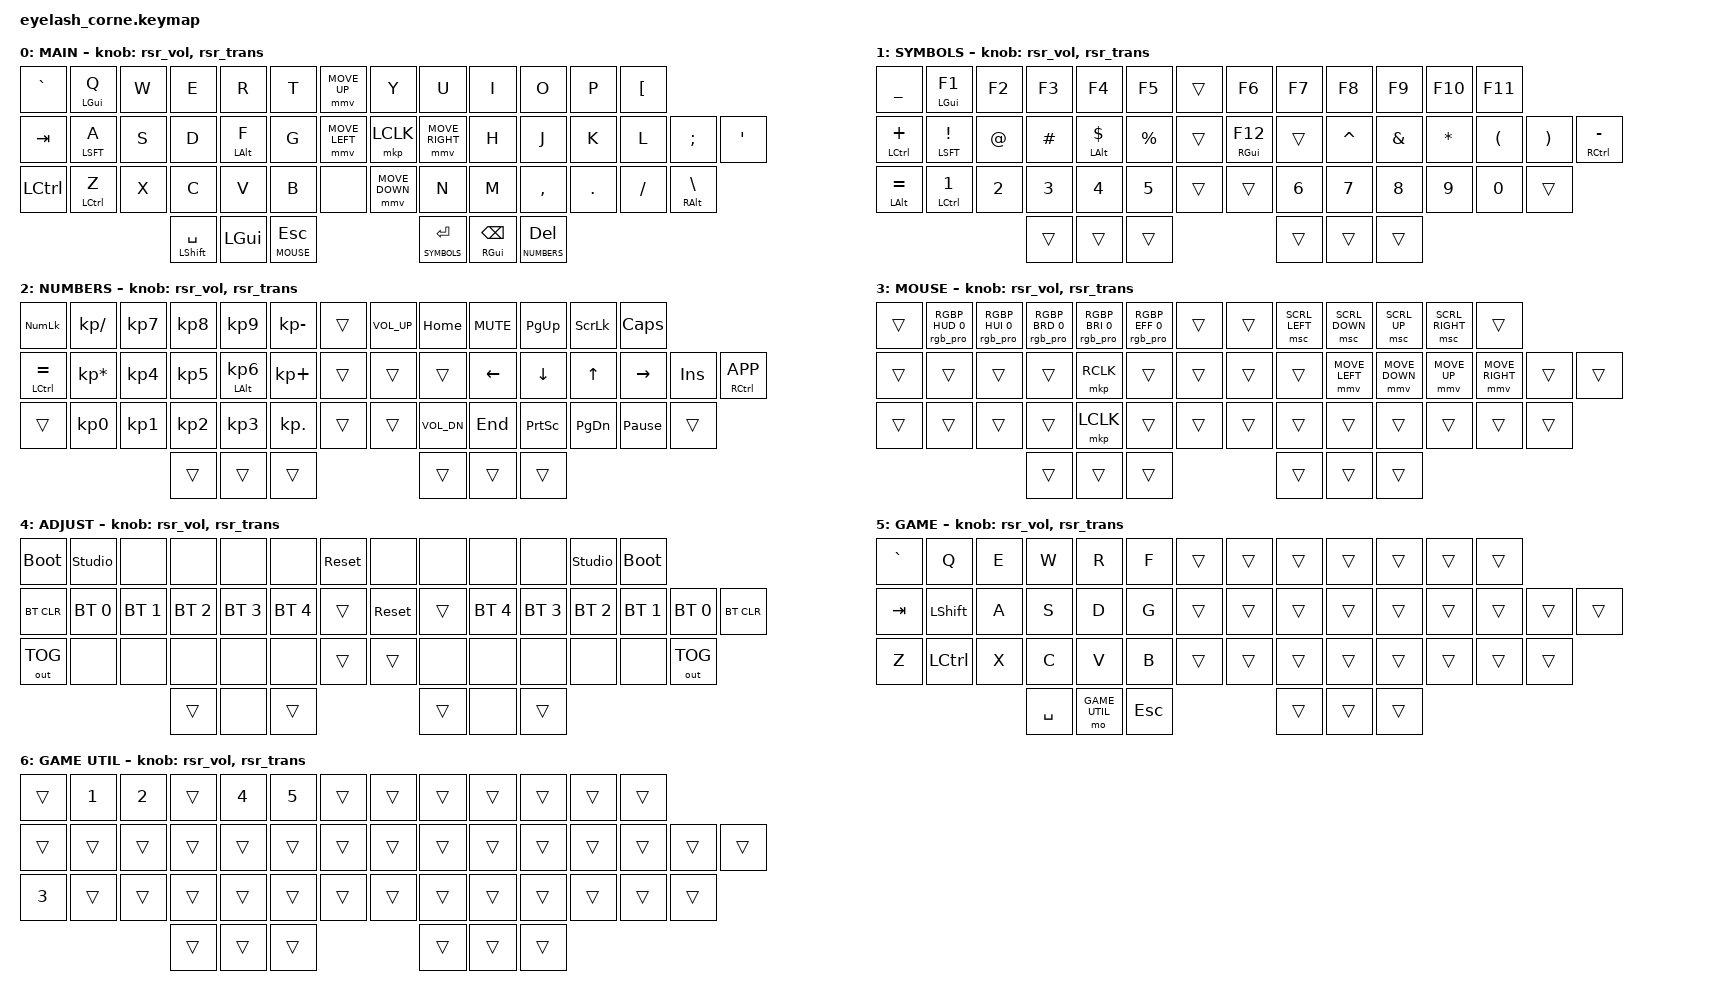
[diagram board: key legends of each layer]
#define ZMK_POINTING_DEFAULT_MOVE_VAL 3000
#define ZMK_POINTING_DEFAULT_SCRL_VAL 25

#include <input/processors.dtsi>
#include <zephyr/dt-bindings/input/input-event-codes.h>
#include <behaviors.dtsi>
#include <behaviors/runtime-sensor-rotate.dtsi>
#include <dt-bindings/zmk/bt.h>
#include <dt-bindings/zmk/keys.h>
#include <dt-bindings/zmk/outputs.h>
#include <dt-bindings/zmk/pointing.h>

#define MAIN 0
#define SYMBOLS 1
#define NUMBERS 2
#define MOUSE 3
#define ADJUST 4
#define GAME 5
#define GAME_UTIL 6

// zmk-pro-rgb commands (param1 of &rgb_pro)
#define RGBP_TOG 0
#define RGBP_EFF 3
#define RGBP_HUI 5
#define RGBP_HUD 6
#define RGBP_BRI 7
#define RGBP_BRD 8

// Combos are disabled on GAME/GAME_UTIL; only the GAME toggle works there
#define COMBO_LAYERS MAIN SYMBOLS NUMBERS MOUSE ADJUST

&lt { quick-tap-ms = <219>; };
&mt { quick-tap-ms = <219>; };

&msc_input_listener { input-processors = <&zip_scroll_scaler 2 1>; };

&msc {
    acceleration-exponent = <1>;
    time-to-max-speed-ms = <100>;
    delay-ms = <0>;
};

// Pointer starts slowly and speeds up quadratically, reaching full speed after
// 1 s. Max speed comes from MOVE_VAL, not a 2x scaler, to keep 1-unit steps.
&mmv {
    time-to-max-speed-ms = <1000>;
    acceleration-exponent = <2>;
    trigger-period-ms = <16>;
};

&soft_off { hold-time-ms = <2000>; };

/ {
    behaviors {
        // Node name must be <= 8 chars to reach the peripheral half
        rgb_pro: rgbpro {
            compatible = "zmk,behavior-rgb-pro";
            #binding-cells = <2>;
        };

        rsr_vol: rsr_vol {
            compatible = "zmk,behavior-runtime-sensor-rotate";
            #sensor-binding-cells = <0>;
            tap-ms = <5>;
            cw-binding = <&kp C_VOL_UP>;
            ccw-binding = <&kp C_VOL_DN>;
        };

        // Alt on F (Russian "а"): only becomes Alt when combined with a
        // right-hand key, never during fast typing rolls like "а " or "ав"
        hm_alt: hm_alt {
            compatible = "zmk,behavior-hold-tap";
            #binding-cells = <2>;
            flavor = "balanced";
            tapping-term-ms = <280>;
            quick-tap-ms = <175>;
            require-prior-idle-ms = <150>;
            hold-trigger-key-positions = <6 7 8 9 10 11 12 19 20 21 22 23 24 25 26 27 35 36 37 38 39 40 41 45 46 47>;
            hold-trigger-on-release;
            bindings = <&kp>, <&kp>;
        };

        rsr_trans: rsr_trans {
            compatible = "zmk,behavior-runtime-sensor-rotate";
            #sensor-binding-cells = <0>;
            tap-ms = <0>;
        };
    };

    combos {
        compatible = "zmk,combos";

        softoff {
            bindings = <&soft_off>;
            key-positions = <1 15 29>;
            layers = <COMBO_LAYERS>;
        };

        combo_esc {
            timeout-ms = <50>;
            key-positions = <1 2>;
            layers = <COMBO_LAYERS>;
            bindings = <&kp ESC>;
        };

        yu_left_paren {
            timeout-ms = <50>;
            key-positions = <7 8>;
            layers = <COMBO_LAYERS>;
            bindings = <&kp LPAR>;
        };

        ui_right_paren {
            timeout-ms = <50>;
            key-positions = <8 9>;
            layers = <COMBO_LAYERS>;
            bindings = <&kp RPAR>;
        };

        hj_left_curly {
            timeout-ms = <50>;
            key-positions = <22 23>;
            layers = <COMBO_LAYERS>;
            bindings = <&kp LBRC>;
        };

        jk_right_curly {
            timeout-ms = <50>;
            key-positions = <23 24>;
            layers = <COMBO_LAYERS>;
            bindings = <&kp RBRC>;
        };

        nm_pipe {
            timeout-ms = <50>;
            key-positions = <36 37>;
            layers = <COMBO_LAYERS>;
            bindings = <&kp PIPE>;
        };

        m_comma_left_bracket {
            timeout-ms = <50>;
            key-positions = <37 38>;
            layers = <COMBO_LAYERS>;
            bindings = <&kp LBKT>;
        };

        rt_underscore {
            timeout-ms = <50>;
            key-positions = <4 5>;
            layers = <COMBO_LAYERS>;
            bindings = <&kp UNDERSCORE>;
        };

        comma_dot_right_bracket {
            timeout-ms = <50>;
            key-positions = <38 39>;
            layers = <COMBO_LAYERS>;
            bindings = <&kp RBKT>;
        };

        rgb_toggle {
            timeout-ms = <100>;
            key-positions = <42 47>;
            layers = <COMBO_LAYERS>;
            bindings = <&rgb_pro RGBP_TOG 0>;
        };

        adjust_toggle {
            timeout-ms = <100>;
            key-positions = <1 11 20>;
            layers = <COMBO_LAYERS>;
            bindings = <&tog ADJUST>;
        };

        yhn_game_toggle {
            timeout-ms = <50>;
            key-positions = <7 22 36>;
            bindings = <&tog GAME>;
        };
    };

    keymap {
        compatible = "zmk,keymap";

        main_layer {
            display-name = "MAIN";
            bindings = <
&kp GRAVE       &mt LGUI Q     &kp W       &kp E               &kp R               &kp T           &mmv MOVE_UP              &kp Y              &kp U            &kp I       &kp O       &kp P        &kp LBKT
&kp TAB         &mt LSFT A     &kp S       &kp D               &hm_alt LALT F        &kp G           &mmv MOVE_LEFT            &mkp LCLK          &mmv MOVE_RIGHT  &kp H       &kp J       &kp K        &kp L        &kp SEMI     &kp SQT
&kp LCTL        &mt LCTL Z     &kp X       &kp C               &kp V               &kp B           &none                     &mmv MOVE_DOWN     &kp N            &kp M       &kp COMMA   &kp DOT      &kp FSLH     &mt RALT BSLH
                                           &mt LSHFT SPACE     &kp LGUI            &lt MOUSE ESC                             &lt SYMBOLS ENTER  &mt RGUI BSPC    &lt NUMBERS DEL
            >;
            sensor-bindings = <&rsr_vol &rsr_trans>;
        };

        symbols_layer {
            display-name = "SYMBOLS";
            bindings = <
&kp UNDER       &mt LGUI F1     &kp F2      &kp F3              &kp F4              &kp F5        &trans                    &kp F6             &kp F7           &kp F8      &kp F9      &kp F10     &kp F11
&mt LCTRL PLUS  &mt LSFT EXCL   &kp AT      &kp HASH            &mt LALT DLLR       &kp PRCNT     &trans                    &mt RGUI F12       &trans           &kp CARET   &kp AMPS    &kp STAR    &kp LPAR     &kp RPAR     &mt RCTRL MINUS
&mt LALT EQUAL  &mt LCTL N1     &kp N2      &kp N3              &kp N4              &kp N5        &trans                    &trans             &kp N6            &kp N7      &kp N8      &kp N9      &kp N0       &trans
                                           &trans               &trans              &trans                                            &trans             &trans            &trans
            >;
            sensor-bindings = <&rsr_vol &rsr_trans>;
        };

        numbers_layer {
            display-name = "NUMBERS";
            bindings = <
&kp KP_NUM       &kp KP_SLASH     &kp KP_N7   &kp KP_N8           &kp KP_N9           &kp KP_MINUS  &trans                 &kp C_VOL_UP       &kp HOME          &kp C_MUTE  &kp PG_UP   &kp SLCK         &kp CAPS
&mt LCTRL EQUAL  &kp KP_MULTIPLY  &kp KP_N4   &kp KP_N5           &mt LALT KP_N6      &kp KP_PLUS   &trans                 &trans             &trans            &kp LEFT    &kp DOWN    &kp UP           &kp RIGHT    &kp INS          &mt RCTRL K_APP
&trans           &kp KP_N0        &kp KP_N1   &kp KP_N2           &kp KP_N3           &kp KP_DOT    &trans                 &trans             &kp C_VOL_DN      &kp END     &kp PSCRN   &kp PG_DN        &kp PAUSE_BREAK  &trans
                                             &trans              &trans              &trans                                         &trans             &trans           &trans
            >;
            sensor-bindings = <&rsr_vol &rsr_trans>;
        };

        mouse_layer {
            display-name = "MOUSE";
            bindings = <
&trans  &rgb_pro RGBP_HUD 0  &rgb_pro RGBP_HUI 0  &rgb_pro RGBP_BRD 0  &rgb_pro RGBP_BRI 0  &rgb_pro RGBP_EFF 0  &trans                    &trans             &msc SCRL_LEFT   &msc SCRL_DOWN  &msc SCRL_UP    &msc SCRL_RIGHT  &trans
&trans  &trans            &trans            &trans            &mkp RCLK         &trans            &trans                    &trans             &trans           &mmv MOVE_LEFT  &mmv MOVE_DOWN  &mmv MOVE_UP    &mmv MOVE_RIGHT  &trans           &trans
&trans  &trans            &trans            &trans            &mkp LCLK         &trans            &trans                                      &trans           &trans          &trans          &trans          &trans          &trans           &trans
                                          &trans            &trans            &trans                                             &trans           &trans          &trans
            >;
            sensor-bindings = <&rsr_vol &rsr_trans>;
        };

        adjust_layer {
            display-name = "ADJUST";
            bindings = <
&bootloader   &studio_unlock  &none         &none               &none         &none         &sys_reset               &none              &none         &none         &none         &studio_unlock  &bootloader
&bt BT_CLR    &bt BT_SEL 0    &bt BT_SEL 1  &bt BT_SEL 2        &bt BT_SEL 3  &bt BT_SEL 4  &trans                   &sys_reset         &trans        &bt BT_SEL 4  &bt BT_SEL 3  &bt BT_SEL 2  &bt BT_SEL 1  &bt BT_SEL 0  &bt BT_CLR
&out OUT_TOG  &none           &none         &none               &none         &none         &trans                                      &trans        &none         &none         &none         &none         &none         &out OUT_TOG
                                          &trans              &none         &trans                                        &trans            &none         &trans
            >;
            sensor-bindings = <&rsr_vol &rsr_trans>;
        };

        game_layer {
            display-name = "GAME";
            bindings = <
&kp GRAVE  &kp Q       &kp E  &kp W  &kp R  &kp F  &trans              &trans  &trans  &trans  &trans  &trans  &trans
&kp TAB    &kp LSHFT   &kp A  &kp S  &kp D  &kp G  &trans  &trans     &trans  &trans  &trans  &trans  &trans  &trans  &trans
&kp Z      &kp LCTRL   &kp X  &kp C  &kp V  &kp B  &trans              &trans  &trans  &trans  &trans  &trans  &trans  &trans
                                &kp SPACE    &mo GAME_UTIL  &kp ESC                     &trans  &trans  &trans
            >;
            sensor-bindings = <&rsr_vol &rsr_trans>;
        };

        game_util_layer {
            display-name = "GAME UTIL";
            bindings = <
&trans  &kp N1  &kp N2  &trans  &kp N4  &kp N5  &trans              &trans  &trans  &trans  &trans  &trans  &trans
&trans  &trans  &trans  &trans  &trans  &trans  &trans  &trans      &trans  &trans  &trans  &trans  &trans  &trans  &trans
&kp N3  &trans  &trans  &trans  &trans  &trans  &trans               &trans  &trans  &trans  &trans  &trans  &trans  &trans
                        &trans  &trans  &trans                               &trans  &trans  &trans
            >;
            sensor-bindings = <&rsr_vol &rsr_trans>;
        };
    };
};
